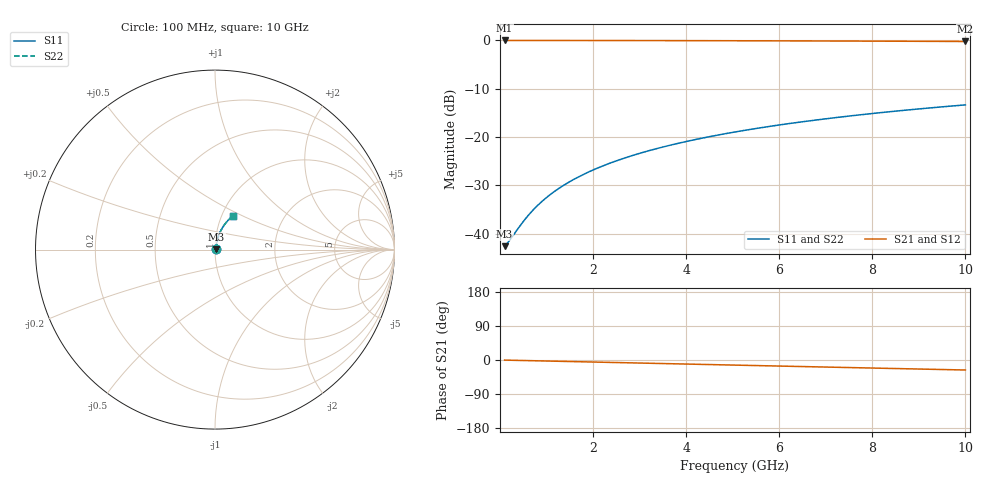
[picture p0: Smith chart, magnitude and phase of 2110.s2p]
# Hz S RI R 50.00
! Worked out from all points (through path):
!   100 points, 100 MHz to 10 GHz, reference 50 ohm
!   highest |S21| = -0.06 dB at 100 MHz (marker M1); lowest = -0.3 dB at 10 GHz (marker M2)
!   group delay of S21, straight-line fit = 7.34 ps
!   lowest |S11| = -42.5 dB at 100 MHz (marker M3), VSWR 1.02, Z = 50.7 + j0.226 ohm
!   |S11| at or under -10 dB: start of sweep to end of sweep
!   |S22| runs from -42.5 to -13.4 dB; largest |S21 - S12| = 0
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1e8  0.00714 0.00223  0.9929 -0.00464  0.9929 -0.00464  0.00714 0.00223
2e8  0.00721 0.00445  0.9928 -0.00928  0.9928 -0.00928  0.00721 0.00445
4e8  0.0074 0.0089  0.9925 -0.0186  0.9925 -0.0186  0.0074 0.0089
5e8  0.00751 0.0111  0.9924 -0.0232  0.9924 -0.0232  0.00751 0.0111
6e8  0.00765 0.0133  0.9922 -0.0278  0.9922 -0.0278  0.00765 0.0133
7e8  0.0078 0.0156  0.992 -0.0325  0.992 -0.0325  0.0078 0.0156
9e8  0.00817 0.02  0.9916 -0.0417  0.9916 -0.0417  0.00817 0.02
1.1e9  0.00861 0.0244  0.991 -0.051  0.991 -0.051  0.00861 0.0244
1.3e9  0.00914 0.0288  0.9903 -0.0602  0.9903 -0.0602  0.00914 0.0288
1.5e9  0.00974 0.0332  0.9896 -0.0695  0.9896 -0.0695  0.00974 0.0332
1.8e9  0.0108 0.0398  0.9882 -0.0833  0.9882 -0.0833  0.0108 0.0398
2.1e9  0.012 0.0464  0.9866 -0.0971  0.9866 -0.0971  0.012 0.0464
2.5e9  0.014 0.055  0.9841 -0.1154  0.9841 -0.1154  0.014 0.055
2.9e9  0.0162 0.0636  0.9813 -0.1337  0.9813 -0.1337  0.0162 0.0636
3.4e9  0.0195 0.0742  0.9771 -0.1564  0.9771 -0.1564  0.0195 0.0742
4.2e9  0.0257 0.0907  0.9691 -0.1922  0.9691 -0.1922  0.0257 0.0907
5.1e9  0.034 0.1086  0.9582 -0.232  0.9582 -0.232  0.034 0.1086
5.9e9  0.0427 0.1239  0.9469 -0.2666  0.9469 -0.2666  0.0427 0.1239
6.7e9  0.0524 0.1384  0.9342 -0.3004  0.9342 -0.3004  0.0524 0.1384
7.5e9  0.0631 0.1521  0.9201 -0.3335  0.9201 -0.3335  0.0631 0.1521
8.4e9  0.0762 0.1664  0.9027 -0.3696  0.9027 -0.3696  0.0762 0.1664
1e10  0.102 0.1889  0.8679 -0.4309  0.8679 -0.4309  0.102 0.1889
